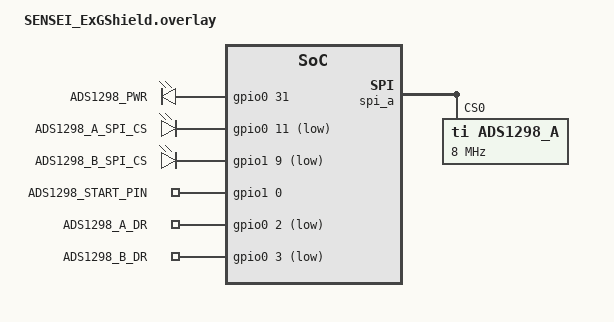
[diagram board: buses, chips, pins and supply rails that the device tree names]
/*
 * Copyright (c) 2025 ETH Zurich and University of Bologna
 * SPDX-License-Identifier: Apache-2.0
 *
 * SENSEI ExG shield (dual ADS1298 bio-potential AFE).
 *
 * The shield sits on SPI_A (SPIM4, defined in the board DTS:
 * SCK P0.08 / MOSI P0.09 / MISO P0.10). Chip selects are software
 * controlled GPIOs because two ADS1298 devices share the bus:
 *   ADS1298 A CS = P0.11 (J2 pin 28, SPI_A_CS)
 *   ADS1298 B CS = P1.09 (J4 pin 8)
 * Further shield signals:
 *   START (both devices) = P1.00, DRDY A = P0.02, DRDY B = P0.03
 *   ADS power enable     = P0.31 (also present on the EMG shield)
 */

/ {
	sensei_pwr: sensei_pwr {
		compatible = "gpio-leds";
		gpio_ads1298_pwr: gpio_ads1298_pwr {
			gpios = <&gpio0 31 GPIO_ACTIVE_HIGH>;
			label = "ADS1298_PWR";
		};
	};

	gpio_nodes {
		compatible = "gpio-leds";

		gpio_ads1298_a_spi_cs: gpio_ads1298_a_spi_cs {
			gpios = <&gpio0 11 GPIO_ACTIVE_LOW>;
			label = "ADS1298_A_SPI_CS";
		};

		gpio_ads1298_b_spi_cs: gpio_ads1298_b_spi_cs {
			gpios = <&gpio1 9 GPIO_ACTIVE_LOW>;
			label = "ADS1298_B_SPI_CS";
		};

		gpio_ads1298_start_pin: gpio_ads1298_start_pin {
			gpios = <&gpio1 0 GPIO_ACTIVE_HIGH>;
			label = "ADS1298_START_PIN";
		};
	};

	buttons {
		gpio_ads1298_a_dr: gpio_ads1298_a_dr {
			gpios = <&gpio0 2 (GPIO_PULL_UP | GPIO_ACTIVE_LOW)>;
			label = "ADS1298_A_DR";
		};
		gpio_ads1298_b_dr: gpio_ads1298_b_dr {
			gpios = <&gpio0 3 (GPIO_PULL_UP | GPIO_ACTIVE_LOW)>;
			label = "ADS1298_B_DR";
		};
	};
};

/* ADS1298 device on the shared SPI_A bus (bus/pinctrl defined in the
 * board DTS). No cs-gpios on the controller: CS is asserted per device
 * by the application (gpio_ads1298_a/b_spi_cs above). */
&spi_a {
	ads1298_a: ads1298_a@0 {
		compatible = "ti,ads1298_a";
		reg = <0>;
		spi-max-frequency = <8000000>;
		duplex = <1>;              /* Full duplex */
		frame-format = <0>;        /* Standard SPI frame format */
	};
};
